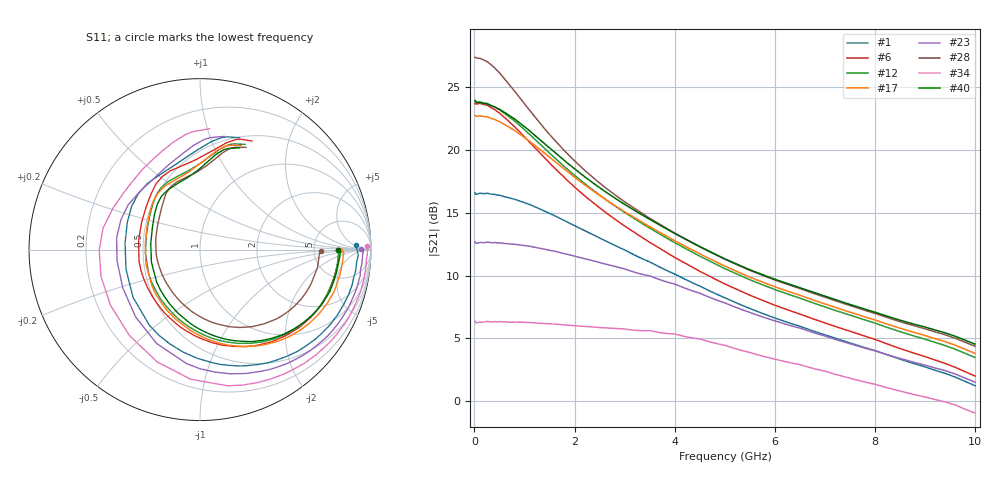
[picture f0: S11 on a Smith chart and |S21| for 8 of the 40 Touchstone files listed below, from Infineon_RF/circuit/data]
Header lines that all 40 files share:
! Infineon Technologies  Discrete & RF Semiconductors
! BFP405
! Common Emitter S-Parameters:  Jan 2016
# GHz  S  MA  R  50
!  f  S11  S21  S12  S22
! GHz  MAG  ANG  MAG  ANG  MAG  ANG  MAG  ANG
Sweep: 10 MHz to 10 GHz
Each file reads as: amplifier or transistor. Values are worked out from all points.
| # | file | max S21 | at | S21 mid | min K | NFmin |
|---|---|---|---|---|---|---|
| 1 | BFP405_w_noise_VCE_0.5V_IC_2.0mA.s2p | 16.6 dB | 10 MHz | 14.5 dB at 1.74 GHz | 0.04 | 0.86 dB |
| 2 | BFP405_w_noise_VCE_0.5V_IC_2.5mA.s2p | 18.0 dB | 100 MHz | 15.4 dB at 1.74 GHz | 0.05 | 0.94 dB |
| 3 | BFP405_w_noise_VCE_0.5V_IC_3.0mA.s2p | 19.3 dB | 100 MHz | 16.2 dB at 1.74 GHz | 0.06 | 0.98 dB |
| 4 | BFP405_w_noise_VCE_0.5V_IC_4.0mA.s2p | 21.2 dB | 100 MHz | 17.2 dB at 1.74 GHz | 0.09 | 1.10 dB |
| 5 | BFP405_w_noise_VCE_0.5V_IC_5.0mA.s2p | 22.6 dB | 100 MHz | 17.7 dB at 1.74 GHz | 0.11 | 1.22 dB |
| 6 | BFP405_w_noise_VCE_0.5V_IC_6.0mA.s2p | 23.7 dB | 100 MHz | 18.0 dB at 1.74 GHz | 0.13 | 1.32 dB |
| 7 | BFP405_w_noise_VCE_0.5V_IC_8.0mA.s2p | 25.2 dB | 100 MHz | 18.0 dB at 1.74 GHz | 0.18 | 1.48 dB |
| 8 | BFP405_w_noise_VCE_1.0V_IC_1.0mA.s2p | 11.0 dB | 260 MHz | 10.3 dB at 1.74 GHz | 0.01 | 0.74 dB |
| 9 | BFP405_w_noise_VCE_1.0V_IC_2.0mA.s2p | 16.5 dB | 10 MHz | 14.7 dB at 1.74 GHz | 0.04 | 0.86 dB |
| 10 | BFP405_w_noise_VCE_1.0V_IC_3.0mA.s2p | 19.3 dB | 100 MHz | 16.6 dB at 1.74 GHz | 0.06 | 0.98 dB |
| 11 | BFP405_w_noise_VCE_1.0V_IC_4.0mA.s2p | 21.3 dB | 100 MHz | 17.8 dB at 1.74 GHz | 0.07 | 1.10 dB |
| 12 | BFP405_w_noise_VCE_1.0V_IC_6.0mA.s2p | 23.8 dB | 100 MHz | 18.9 dB at 1.74 GHz | 0.10 | 1.32 dB |
| 13 | BFP405_w_noise_VCE_1.0V_IC_12mA.s2p | 27.2 dB | 20 MHz | 19.5 dB at 1.74 GHz | 0.19 | 1.77 dB |
| 14 | BFP405_w_noise_VCE_1.5V_IC_0.5mA.s2p | 5.9 dB | 400 MHz | 5.6 dB at 1.74 GHz | -0.01 | 0.78 dB |
| 15 | BFP405_w_noise_VCE_1.5V_IC_1.0mA.s2p | 11.3 dB | 260 MHz | 10.6 dB at 1.74 GHz | 0.01 | 0.74 dB |
| 16 | BFP405_w_noise_VCE_1.5V_IC_4.0mA.s2p | 21.3 dB | 10 MHz | 17.9 dB at 1.74 GHz | 0.05 | 1.10 dB |
| 17 | BFP405_w_noise_VCE_1.5V_IC_5.0mA.s2p | 22.8 dB | 10 MHz | 18.6 dB at 1.74 GHz | 0.05 | 1.22 dB |
| 18 | BFP405_w_noise_VCE_1.5V_IC_6.0mA.s2p | 23.9 dB | 10 MHz | 19.1 dB at 1.74 GHz | 0.09 | 1.32 dB |
| 19 | BFP405_w_noise_VCE_1.5V_IC_8.0mA.s2p | 25.5 dB | 10 MHz | 19.6 dB at 1.74 GHz | 0.10 | 1.48 dB |
| 20 | BFP405_w_noise_VCE_1.5V_IC_10mA.s2p | 26.6 dB | 10 MHz | 19.9 dB at 1.74 GHz | 0.15 | 1.62 dB |
| 21 | BFP405_w_noise_VCE_2.0V_IC_0.5mA.s2p | 6.1 dB | 260 MHz | 5.8 dB at 1.74 GHz | -0.08 | 0.78 dB |
| 22 | BFP405_w_noise_VCE_2.0V_IC_1.0mA.s2p | 11.1 dB | 10 MHz | 10.4 dB at 1.74 GHz | -0.10 | 0.74 dB |
| 23 | BFP405_w_noise_VCE_2.0V_IC_1.2mA.s2p | 12.7 dB | 10 MHz | 11.8 dB at 1.74 GHz | 0.01 | 0.75 dB |
| 24 | BFP405_w_noise_VCE_2.0V_IC_1.5mA.s2p | 14.5 dB | 10 MHz | 13.3 dB at 1.74 GHz | 0.02 | 0.79 dB |
| 25 | BFP405_w_noise_VCE_2.0V_IC_4.0mA.s2p | 21.4 dB | 10 MHz | 18.0 dB at 1.74 GHz | 0.01 | 1.10 dB |
| 26 | BFP405_w_noise_VCE_2.0V_IC_5.0mA.s2p | 22.8 dB | 10 MHz | 18.8 dB at 1.74 GHz | 0.07 | 1.22 dB |
| 27 | BFP405_w_noise_VCE_2.0V_IC_8.0mA.s2p | 25.5 dB | 10 MHz | 19.8 dB at 1.74 GHz | 0.12 | 1.48 dB |
| 28 | BFP405_w_noise_VCE_2.0V_IC_12mA.s2p | 27.4 dB | 10 MHz | 20.2 dB at 1.74 GHz | 0.15 | 1.77 dB |
| 29 | BFP405_w_noise_VCE_2.5V_IC_1.0mA.s2p | 11.4 dB | 10 MHz | 10.6 dB at 1.74 GHz | -0.02 | 0.74 dB |
| 30 | BFP405_w_noise_VCE_2.5V_IC_2.0mA.s2p | 16.4 dB | 10 MHz | 14.8 dB at 1.74 GHz | 0.03 | 0.86 dB |
| 31 | BFP405_w_noise_VCE_2.5V_IC_2.5mA.s2p | 18.3 dB | 10 MHz | 16.2 dB at 1.74 GHz | 0.02 | 0.94 dB |
| 32 | BFP405_w_noise_VCE_2.5V_IC_3.0mA.s2p | 19.4 dB | 10 MHz | 16.9 dB at 1.74 GHz | 0.02 | 0.98 dB |
| 33 | BFP405_w_noise_VCE_2.5V_IC_6.0mA.s2p | 23.9 dB | 10 MHz | 19.3 dB at 1.74 GHz | 0.10 | 1.32 dB |
| 34 | BFP405_w_noise_VCE_3.0V_IC_0.5mA.s2p | 6.4 dB | 10 MHz | 6.1 dB at 1.74 GHz | 0.00 | 0.78 dB |
| 35 | BFP405_w_noise_VCE_3.0V_IC_1.0mA.s2p | 10.9 dB | 10 MHz | 10.3 dB at 1.74 GHz | 0.02 | 0.74 dB |
| 36 | BFP405_w_noise_VCE_3.0V_IC_1.5mA.s2p | 14.4 dB | 10 MHz | 13.2 dB at 1.74 GHz | 0.03 | 0.79 dB |
| 37 | BFP405_w_noise_VCE_3.0V_IC_2.0mA.s2p | 16.6 dB | 10 MHz | 15.0 dB at 1.74 GHz | 0.04 | 0.86 dB |
| 38 | BFP405_w_noise_VCE_3.0V_IC_2.5mA.s2p | 18.1 dB | 10 MHz | 16.1 dB at 1.74 GHz | 0.06 | 0.94 dB |
| 39 | BFP405_w_noise_VCE_3.0V_IC_5.0mA.s2p | 22.8 dB | 10 MHz | 18.9 dB at 1.74 GHz | 0.08 | 1.22 dB |
| 40 | BFP405_w_noise_VCE_3.0V_IC_6.0mA.s2p | 24.0 dB | 10 MHz | 19.3 dB at 1.74 GHz | 0.11 | 1.32 dB |

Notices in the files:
2_Circuitos/LNA/simulaciones/Infineon_RF/circuit/data/BFP405_w_noise_VCE_0.5V_IC_2.0mA.s2p:
(c) 2016  Infineon Technologies AG, Munich
